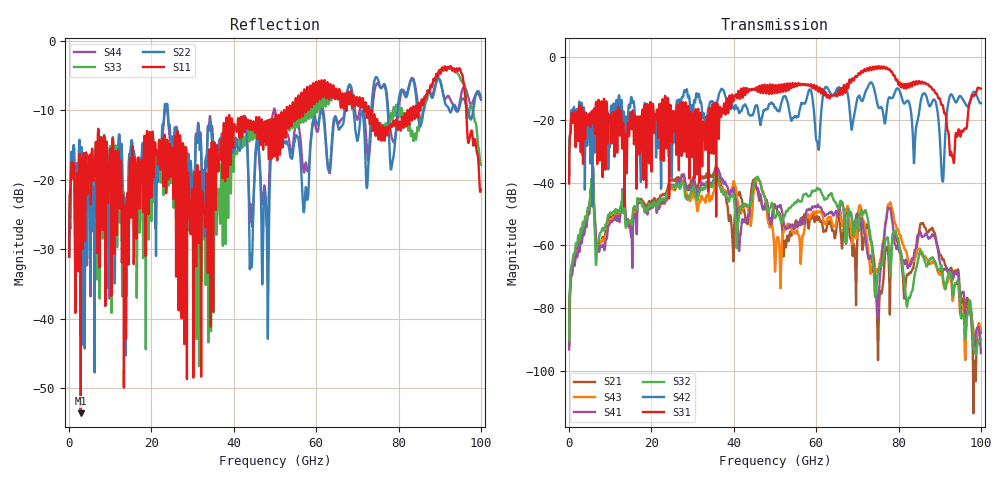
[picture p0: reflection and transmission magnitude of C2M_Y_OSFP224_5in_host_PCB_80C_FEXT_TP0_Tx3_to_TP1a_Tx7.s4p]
# GHz S RI R 45
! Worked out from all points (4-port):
!   4000 points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, 25 MHz to 100 GHz, reference 45 ohm
!   strongest paths, dB at 25 MHz, 25.02 GHz, 50.02 GHz, 75.03 GHz, 100 GHz:
!     S31: -40.2, -23.5, -10.0, -3.1, -9.9
!     S42: -39.6, -28.1, -16.1, -15.6, -14.6
!     S32: -90.3, -41.0, -51.3, -68.9, -89.8
!     S41: -93.2, -40.6, -47.6, -82.3, -94.3
!     S43: -92.3, -41.9, -68.3, -67.7, -87.2
!     S21: -91.7, -38.9, -47.4, -96.5, -87.8
!   lowest |S11| = -53.6 dB at 2.85 GHz (marker M1), VSWR 1.00, Z = 44.9 - j0.113 ohm
!   |S11| at or under -10 dB: start of sweep to 52.19 GHz; 73.43 GHz to 82.21 GHz (8.778 GHz wide, 11.3 % of centre); 96.44 GHz to end of sweep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
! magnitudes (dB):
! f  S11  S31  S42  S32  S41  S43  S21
! 25 MHz  -31.0  -40.2  -39.6  -90.3  -93.2  -92.3  -91.7
! 2.85 GHz  -53.6  -30.2  -21.5  -54.6  -57.6  -56.9  -56.1
! 36 GHz  -15.3  -14.8  -13.9  -37.8  -35.2  -38.2  -35.6
! 75.1 GHz  -13.9  -2.9  -15.8  -68.7  -80.8  -67.8  -90.5
! 86.25 GHz  -8.1  -8.1  -11.4  -64.5  -57.0  -63.4  -54.0
! 90.67 GHz  -3.9  -15.2  -39.5  -68.9  -68.4  -69.8  -64.5
! 100 GHz  -21.4  -9.9  -14.6  -89.8  -94.3  -87.2  -87.8
